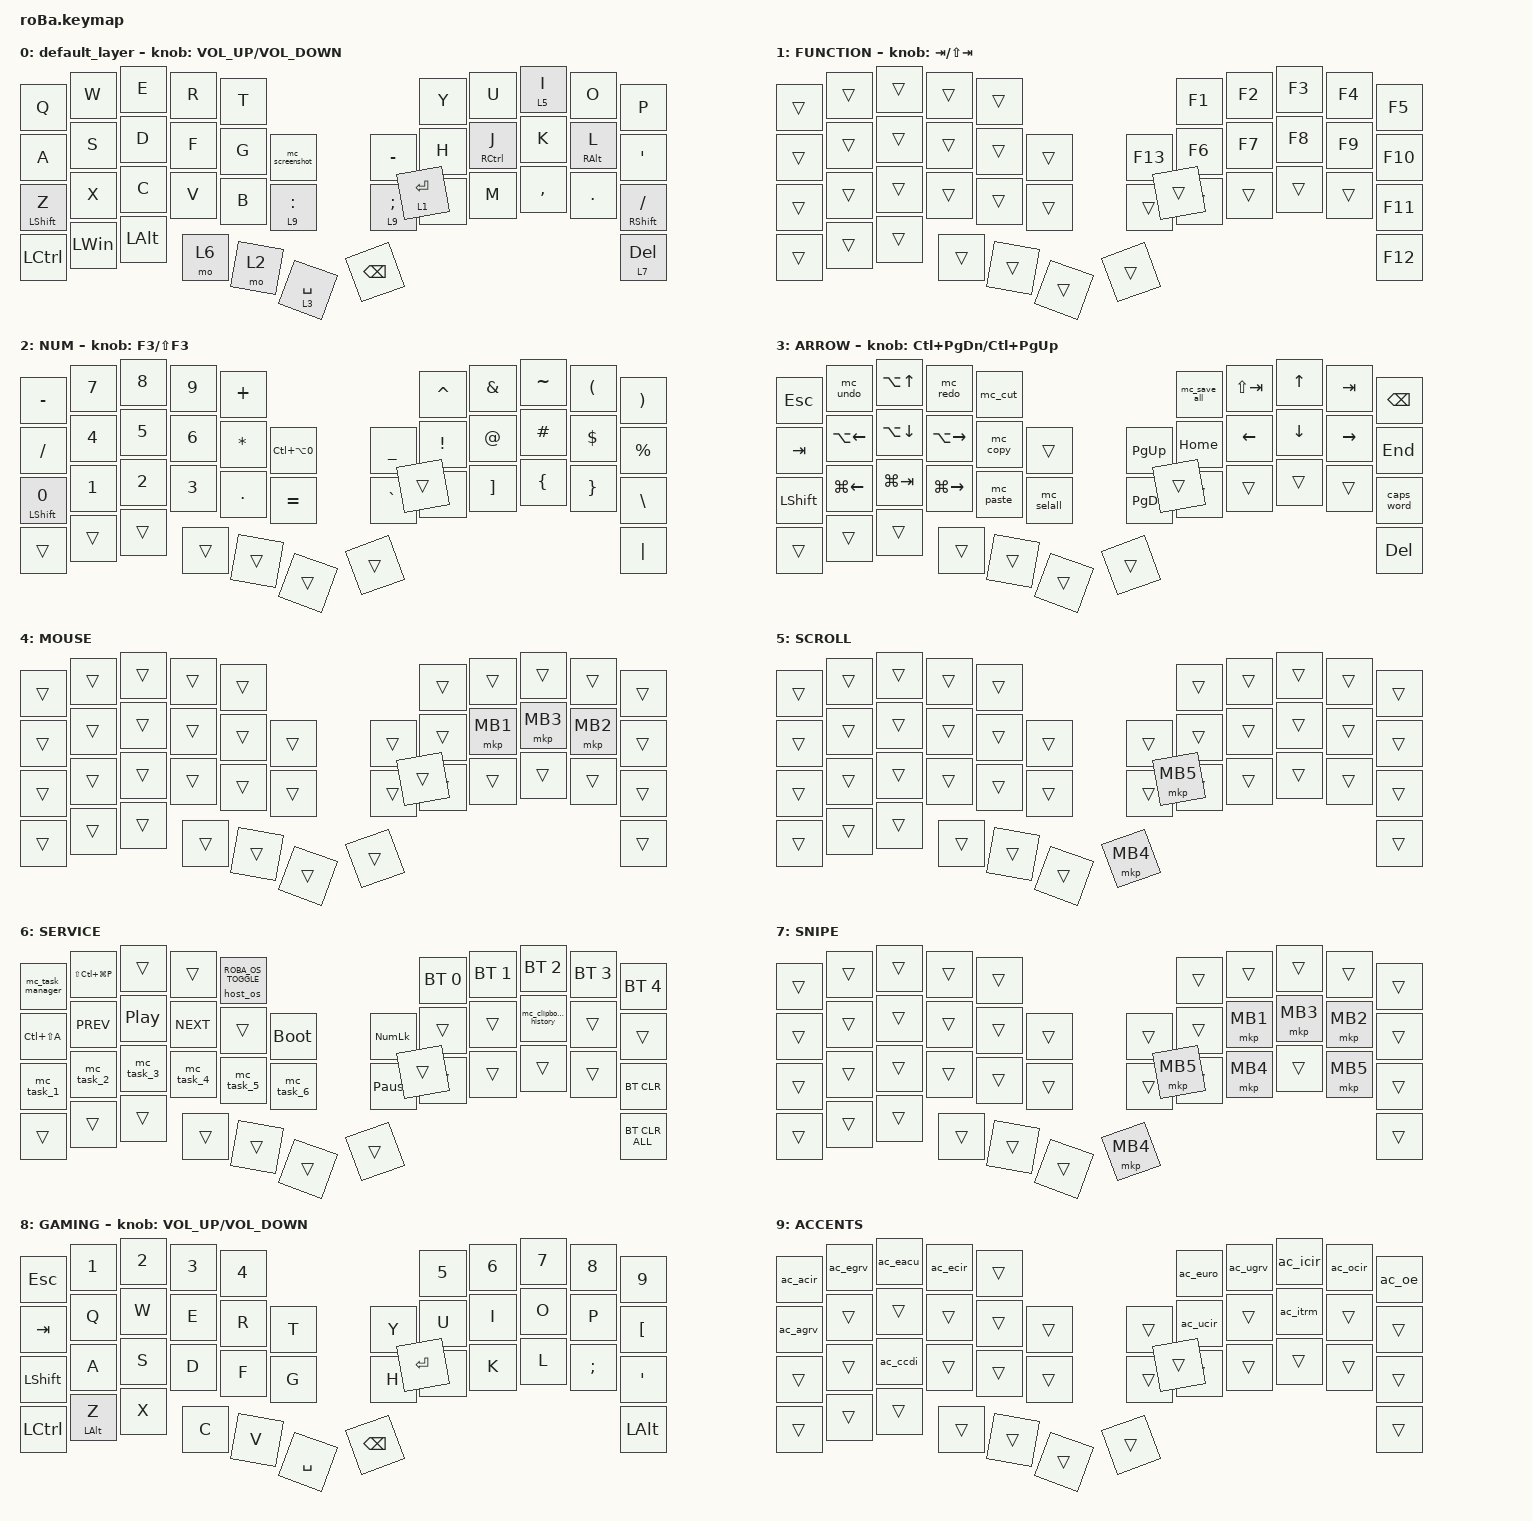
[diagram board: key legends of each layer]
#include <behaviors.dtsi>
#include <dt-bindings/zmk/bt.h>
#include <dt-bindings/zmk/keys.h>
#include <dt-bindings/zmk/modifiers.h>
#include <dt-bindings/zmk/pointing.h>

#include <dt-bindings/roba/host-os.h>

&mt {
    tapping-term-ms = <200>;
    flavor = "balanced";
    quick-tap-ms = <150>;
    require-prior-idle-ms = <150>;
};

&lt {
    flavor = "tap-preferred";
    tapping-term-ms = <200>;
    quick-tap-ms = <150>;
    require-prior-idle-ms = <100>;
};

&sl {
    release-after-ms = <2000>;
    quick-release;
};

&sk {
    release-after-ms = <2000>;
    quick-release;
};

&caps_word { continue-list = <UNDERSCORE MINUS BACKSPACE DELETE>; };

&trackball {
    automouse-layer = <4>;
    scroll-layers = <5>;

    // arrows {
    //     layers = <3>;
    //     bindings =
    //         <&kp RIGHT_ARROW>,
    //         <&kp LEFT_ARROW>,
    //         <&kp UP_ARROW>,
    //         <&kp DOWN_ARROW>;
    //     tick = <10>;
    //     wait-ms = <5>;
    //     tap-ms = <5>;
    // };
};

/ {
    combos {
        compatible = "zmk,combos";

        tab {
            timeout-ms = <40>;
            require-prior-idle-ms = <175>;
            bindings = <&kp TAB>;
            key-positions = <11 12>;
            layers = <0>;
        };

        shift_tab {
            timeout-ms = <40>;
            require-prior-idle-ms = <175>;
            bindings = <&kp LS(TAB)>;
            key-positions = <12 13>;
            layers = <0>;
        };

        double_quotation {
            timeout-ms = <40>;
            require-prior-idle-ms = <175>;
            bindings = <&kp DOUBLE_QUOTES>;
            key-positions = <20 21>;
        };

        // Layer-independent mouse clicks: work on every layer, even after the
        // AutoMouse layer expired (no movement needed). require-prior-idle-ms only
        // tracks keyboard key taps (never trackball movement or mkp clicks), so it
        // guards against fast jk/kl rolls during typing without delaying a click
        // after using the ball. Holding the chord keeps the button pressed
        // (click-hold / short drag).
        mb1 {
            timeout-ms = <40>;
            require-prior-idle-ms = <100>;
            bindings = <&mkp MB1>;
            key-positions = <18 19>;
        };

        mb2 {
            timeout-ms = <40>;
            require-prior-idle-ms = <100>;
            bindings = <&mkp MB2>;
            key-positions = <19 20>;
        };

        eq {
            timeout-ms = <40>;
            bindings = <&kp EQUAL>;
            key-positions = <24 25>;
            layers = <0 2>;
        };

        ctrl+alt+del {
            timeout-ms = <40>;
            require-prior-idle-ms = <175>;
            bindings = <&kp LC(LA(DELETE))>;
            key-positions = <34 42>;
        };

        Gaming {
            timeout-ms = <40>;
            require-prior-idle-ms = <175>;
            bindings = <&tog 8>;
            key-positions = <0 1 8 9>;
        };
    };

    macros {
        mc_clipboard_history: mc_clipboard_history {
            compatible = "zmk,behavior-macro";
            #binding-cells = <0>;
            bindings = <&kp LG(V)>;
            label = "Clipboard History";
        };

        mc_screenshot_linux: mc_screenshot_linux {
            compatible = "zmk,behavior-macro";
            #binding-cells = <0>;
            bindings = <&kp LG(LS(PRINTSCREEN))>;
            label = "Screenshot (Linux)";
        };

        mc_screenshot_windows: mc_screenshot_windows {
            compatible = "zmk,behavior-macro";
            #binding-cells = <0>;
            bindings = <&kp LG(LS(S))>;
            label = "Screenshot (Windows)";
        };

        to_layer_0: to_layer_0 {
            compatible = "zmk,behavior-macro-one-param";
            #binding-cells = <1>;
            bindings = <&to 0 &macro_param_1to1 &kp MACRO_PLACEHOLDER>;
            label = "TO_LAYER_0";
        };

        // Accent macros for both hosts; ac_* selectors choose at runtime.
        // Linux setup: see README.md. Shift selects explicit uppercase sequences.

        // à (Alt+0224)

        ac_agrv_l_linux: ac_agrv_l_linux {
            wait-ms = <5>;
            tap-ms = <5>;
            compatible = "zmk,behavior-macro";
            #binding-cells = <0>;
            bindings = <&macro_tap>, <&kp K_APPLICATION>,
                <&kp GRAVE>, <&kp A>;
            label = "à";
        };

        ac_agrv_l_windows: ac_agrv_l_windows {
            wait-ms = <5>;
            tap-ms = <5>;
            compatible = "zmk,behavior-macro";
            #binding-cells = <0>;
            bindings =
                <&macro_press>, <&kp LALT>,
                <&macro_tap>, <&kp KP_NUMBER_0>,
                <&macro_tap>, <&kp KP_NUMBER_2>,
                <&macro_tap>, <&kp KP_NUMBER_2>,
                <&macro_tap>, <&kp KP_NUMBER_4>,
                <&macro_release>, <&kp LALT>;
            label = "à";
        };

        // À (Alt+0192)

        ac_agrv_u_linux: ac_agrv_u_linux {
            wait-ms = <5>;
            tap-ms = <5>;
            compatible = "zmk,behavior-macro";
            #binding-cells = <0>;
            bindings = <&macro_tap>, <&kp K_APPLICATION>,
                <&kp GRAVE>, <&kp LS(A)>;
            label = "À";
        };

        ac_agrv_u_windows: ac_agrv_u_windows {
            wait-ms = <5>;
            tap-ms = <5>;
            compatible = "zmk,behavior-macro";
            #binding-cells = <0>;
            bindings =
                <&macro_press>, <&kp LALT>,
                <&macro_tap>, <&kp KP_NUMBER_0>,
                <&macro_tap>, <&kp KP_NUMBER_1>,
                <&macro_tap>, <&kp KP_NUMBER_9>,
                <&macro_tap>, <&kp KP_NUMBER_2>,
                <&macro_release>, <&kp LALT>;
            label = "À";
        };

        // è (Alt+0232)

        ac_egrv_l_linux: ac_egrv_l_linux {
            wait-ms = <5>;
            tap-ms = <5>;
            compatible = "zmk,behavior-macro";
            #binding-cells = <0>;
            bindings = <&macro_tap>, <&kp K_APPLICATION>,
                <&kp GRAVE>, <&kp E>;
            label = "è";
        };

        ac_egrv_l_windows: ac_egrv_l_windows {
            wait-ms = <5>;
            tap-ms = <5>;
            compatible = "zmk,behavior-macro";
            #binding-cells = <0>;
            bindings =
                <&macro_press>, <&kp LALT>,
                <&macro_tap>, <&kp KP_NUMBER_0>,
                <&macro_tap>, <&kp KP_NUMBER_2>,
                <&macro_tap>, <&kp KP_NUMBER_3>,
                <&macro_tap>, <&kp KP_NUMBER_2>,
                <&macro_release>, <&kp LALT>;
            label = "è";
        };

        // È (Alt+0200)

        ac_egrv_u_linux: ac_egrv_u_linux {
            wait-ms = <5>;
            tap-ms = <5>;
            compatible = "zmk,behavior-macro";
            #binding-cells = <0>;
            bindings = <&macro_tap>, <&kp K_APPLICATION>,
                <&kp GRAVE>, <&kp LS(E)>;
            label = "È";
        };

        ac_egrv_u_windows: ac_egrv_u_windows {
            wait-ms = <5>;
            tap-ms = <5>;
            compatible = "zmk,behavior-macro";
            #binding-cells = <0>;
            bindings =
                <&macro_press>, <&kp LALT>,
                <&macro_tap>, <&kp KP_NUMBER_0>,
                <&macro_tap>, <&kp KP_NUMBER_2>,
                <&macro_tap>, <&kp KP_NUMBER_0>,
                <&macro_tap>, <&kp KP_NUMBER_0>,
                <&macro_release>, <&kp LALT>;
            label = "È";
        };

        // é (Alt+0233)

        ac_eacu_l_linux: ac_eacu_l_linux {
            wait-ms = <5>;
            tap-ms = <5>;
            compatible = "zmk,behavior-macro";
            #binding-cells = <0>;
            bindings = <&macro_tap>, <&kp K_APPLICATION>,
                <&kp SQT>, <&kp E>;
            label = "é";
        };

        ac_eacu_l_windows: ac_eacu_l_windows {
            wait-ms = <5>;
            tap-ms = <5>;
            compatible = "zmk,behavior-macro";
            #binding-cells = <0>;
            bindings =
                <&macro_press>, <&kp LALT>,
                <&macro_tap>, <&kp KP_NUMBER_0>,
                <&macro_tap>, <&kp KP_NUMBER_2>,
                <&macro_tap>, <&kp KP_NUMBER_3>,
                <&macro_tap>, <&kp KP_NUMBER_3>,
                <&macro_release>, <&kp LALT>;
            label = "é";
        };

        // É (Alt+0201)

        ac_eacu_u_linux: ac_eacu_u_linux {
            wait-ms = <5>;
            tap-ms = <5>;
            compatible = "zmk,behavior-macro";
            #binding-cells = <0>;
            bindings = <&macro_tap>, <&kp K_APPLICATION>,
                <&kp SQT>, <&kp LS(E)>;
            label = "É";
        };

        ac_eacu_u_windows: ac_eacu_u_windows {
            wait-ms = <5>;
            tap-ms = <5>;
            compatible = "zmk,behavior-macro";
            #binding-cells = <0>;
            bindings =
                <&macro_press>, <&kp LALT>,
                <&macro_tap>, <&kp KP_NUMBER_0>,
                <&macro_tap>, <&kp KP_NUMBER_2>,
                <&macro_tap>, <&kp KP_NUMBER_0>,
                <&macro_tap>, <&kp KP_NUMBER_1>,
                <&macro_release>, <&kp LALT>;
            label = "É";
        };

        // ù (Alt+0249)

        ac_ugrv_l_linux: ac_ugrv_l_linux {
            wait-ms = <5>;
            tap-ms = <5>;
            compatible = "zmk,behavior-macro";
            #binding-cells = <0>;
            bindings = <&macro_tap>, <&kp K_APPLICATION>,
                <&kp GRAVE>, <&kp U>;
            label = "ù";
        };

        ac_ugrv_l_windows: ac_ugrv_l_windows {
            wait-ms = <5>;
            tap-ms = <5>;
            compatible = "zmk,behavior-macro";
            #binding-cells = <0>;
            bindings =
                <&macro_press>, <&kp LALT>,
                <&macro_tap>, <&kp KP_NUMBER_0>,
                <&macro_tap>, <&kp KP_NUMBER_2>,
                <&macro_tap>, <&kp KP_NUMBER_4>,
                <&macro_tap>, <&kp KP_NUMBER_9>,
                <&macro_release>, <&kp LALT>;
            label = "ù";
        };

        // Ù (Alt+0217)

        ac_ugrv_u_linux: ac_ugrv_u_linux {
            wait-ms = <5>;
            tap-ms = <5>;
            compatible = "zmk,behavior-macro";
            #binding-cells = <0>;
            bindings = <&macro_tap>, <&kp K_APPLICATION>,
                <&kp GRAVE>, <&kp LS(U)>;
            label = "Ù";
        };

        ac_ugrv_u_windows: ac_ugrv_u_windows {
            wait-ms = <5>;
            tap-ms = <5>;
            compatible = "zmk,behavior-macro";
            #binding-cells = <0>;
            bindings =
                <&macro_press>, <&kp LALT>,
                <&macro_tap>, <&kp KP_NUMBER_0>,
                <&macro_tap>, <&kp KP_NUMBER_2>,
                <&macro_tap>, <&kp KP_NUMBER_1>,
                <&macro_tap>, <&kp KP_NUMBER_7>,
                <&macro_release>, <&kp LALT>;
            label = "Ù";
        };

        // ô (Alt+0244)

        ac_ocir_l_linux: ac_ocir_l_linux {
            wait-ms = <5>;
            tap-ms = <5>;
            compatible = "zmk,behavior-macro";
            #binding-cells = <0>;
            bindings = <&macro_tap>, <&kp K_APPLICATION>,
                <&kp CARET>, <&kp O>;
            label = "ô";
        };

        ac_ocir_l_windows: ac_ocir_l_windows {
            wait-ms = <5>;
            tap-ms = <5>;
            compatible = "zmk,behavior-macro";
            #binding-cells = <0>;
            bindings =
                <&macro_press>, <&kp LALT>,
                <&macro_tap>, <&kp KP_NUMBER_0>,
                <&macro_tap>, <&kp KP_NUMBER_2>,
                <&macro_tap>, <&kp KP_NUMBER_4>,
                <&macro_tap>, <&kp KP_NUMBER_4>,
                <&macro_release>, <&kp LALT>;
            label = "ô";
        };

        // Ô (Alt+0212)

        ac_ocir_u_linux: ac_ocir_u_linux {
            wait-ms = <5>;
            tap-ms = <5>;
            compatible = "zmk,behavior-macro";
            #binding-cells = <0>;
            bindings = <&macro_tap>, <&kp K_APPLICATION>,
                <&kp CARET>, <&kp LS(O)>;
            label = "Ô";
        };

        ac_ocir_u_windows: ac_ocir_u_windows {
            wait-ms = <5>;
            tap-ms = <5>;
            compatible = "zmk,behavior-macro";
            #binding-cells = <0>;
            bindings =
                <&macro_press>, <&kp LALT>,
                <&macro_tap>, <&kp KP_NUMBER_0>,
                <&macro_tap>, <&kp KP_NUMBER_2>,
                <&macro_tap>, <&kp KP_NUMBER_1>,
                <&macro_tap>, <&kp KP_NUMBER_2>,
                <&macro_release>, <&kp LALT>;
            label = "Ô";
        };

        // ç (Alt+0231)

        ac_ccdi_l_linux: ac_ccdi_l_linux {
            wait-ms = <5>;
            tap-ms = <5>;
            compatible = "zmk,behavior-macro";
            #binding-cells = <0>;
            bindings = <&macro_tap>, <&kp K_APPLICATION>,
                <&kp COMMA>, <&kp C>;
            label = "ç";
        };

        ac_ccdi_l_windows: ac_ccdi_l_windows {
            wait-ms = <5>;
            tap-ms = <5>;
            compatible = "zmk,behavior-macro";
            #binding-cells = <0>;
            bindings =
                <&macro_press>, <&kp LALT>,
                <&macro_tap>, <&kp KP_NUMBER_0>,
                <&macro_tap>, <&kp KP_NUMBER_2>,
                <&macro_tap>, <&kp KP_NUMBER_3>,
                <&macro_tap>, <&kp KP_NUMBER_1>,
                <&macro_release>, <&kp LALT>;
            label = "ç";
        };

        // Ç (Alt+0199)

        ac_ccdi_u_linux: ac_ccdi_u_linux {
            wait-ms = <5>;
            tap-ms = <5>;
            compatible = "zmk,behavior-macro";
            #binding-cells = <0>;
            bindings = <&macro_tap>, <&kp K_APPLICATION>,
                <&kp COMMA>, <&kp LS(C)>;
            label = "Ç";
        };

        ac_ccdi_u_windows: ac_ccdi_u_windows {
            wait-ms = <5>;
            tap-ms = <5>;
            compatible = "zmk,behavior-macro";
            #binding-cells = <0>;
            bindings =
                <&macro_press>, <&kp LALT>,
                <&macro_tap>, <&kp KP_NUMBER_0>,
                <&macro_tap>, <&kp KP_NUMBER_1>,
                <&macro_tap>, <&kp KP_NUMBER_9>,
                <&macro_tap>, <&kp KP_NUMBER_9>,
                <&macro_release>, <&kp LALT>;
            label = "Ç";
        };

        // â (Alt+0226)

        ac_acir_l_linux: ac_acir_l_linux {
            wait-ms = <5>;
            tap-ms = <5>;
            compatible = "zmk,behavior-macro";
            #binding-cells = <0>;
            bindings = <&macro_tap>, <&kp K_APPLICATION>,
                <&kp CARET>, <&kp A>;
            label = "â";
        };

        ac_acir_l_windows: ac_acir_l_windows {
            wait-ms = <5>;
            tap-ms = <5>;
            compatible = "zmk,behavior-macro";
            #binding-cells = <0>;
            bindings =
                <&macro_press>, <&kp LALT>,
                <&macro_tap>, <&kp KP_NUMBER_0>,
                <&macro_tap>, <&kp KP_NUMBER_2>,
                <&macro_tap>, <&kp KP_NUMBER_2>,
                <&macro_tap>, <&kp KP_NUMBER_6>,
                <&macro_release>, <&kp LALT>;
            label = "â";
        };

        // Â (Alt+0194)

        ac_acir_u_linux: ac_acir_u_linux {
            wait-ms = <5>;
            tap-ms = <5>;
            compatible = "zmk,behavior-macro";
            #binding-cells = <0>;
            bindings = <&macro_tap>, <&kp K_APPLICATION>,
                <&kp CARET>, <&kp LS(A)>;
            label = "Â";
        };

        ac_acir_u_windows: ac_acir_u_windows {
            wait-ms = <5>;
            tap-ms = <5>;
            compatible = "zmk,behavior-macro";
            #binding-cells = <0>;
            bindings =
                <&macro_press>, <&kp LALT>,
                <&macro_tap>, <&kp KP_NUMBER_0>,
                <&macro_tap>, <&kp KP_NUMBER_1>,
                <&macro_tap>, <&kp KP_NUMBER_9>,
                <&macro_tap>, <&kp KP_NUMBER_4>,
                <&macro_release>, <&kp LALT>;
            label = "Â";
        };

        // ê (Alt+0234)

        ac_ecir_l_linux: ac_ecir_l_linux {
            wait-ms = <5>;
            tap-ms = <5>;
            compatible = "zmk,behavior-macro";
            #binding-cells = <0>;
            bindings = <&macro_tap>, <&kp K_APPLICATION>,
                <&kp CARET>, <&kp E>;
            label = "ê";
        };

        ac_ecir_l_windows: ac_ecir_l_windows {
            wait-ms = <5>;
            tap-ms = <5>;
            compatible = "zmk,behavior-macro";
            #binding-cells = <0>;
            bindings =
                <&macro_press>, <&kp LALT>,
                <&macro_tap>, <&kp KP_NUMBER_0>,
                <&macro_tap>, <&kp KP_NUMBER_2>,
                <&macro_tap>, <&kp KP_NUMBER_3>,
                <&macro_tap>, <&kp KP_NUMBER_4>,
                <&macro_release>, <&kp LALT>;
            label = "ê";
        };

        // Ê (Alt+0202)

        ac_ecir_u_linux: ac_ecir_u_linux {
            wait-ms = <5>;
            tap-ms = <5>;
            compatible = "zmk,behavior-macro";
            #binding-cells = <0>;
            bindings = <&macro_tap>, <&kp K_APPLICATION>,
                <&kp CARET>, <&kp LS(E)>;
            label = "Ê";
        };

        ac_ecir_u_windows: ac_ecir_u_windows {
            wait-ms = <5>;
            tap-ms = <5>;
            compatible = "zmk,behavior-macro";
            #binding-cells = <0>;
            bindings =
                <&macro_press>, <&kp LALT>,
                <&macro_tap>, <&kp KP_NUMBER_0>,
                <&macro_tap>, <&kp KP_NUMBER_2>,
                <&macro_tap>, <&kp KP_NUMBER_0>,
                <&macro_tap>, <&kp KP_NUMBER_2>,
                <&macro_release>, <&kp LALT>;
            label = "Ê";
        };

        // î (Alt+0238)

        ac_icir_l_linux: ac_icir_l_linux {
            wait-ms = <5>;
            tap-ms = <5>;
            compatible = "zmk,behavior-macro";
            #binding-cells = <0>;
            bindings = <&macro_tap>, <&kp K_APPLICATION>,
                <&kp CARET>, <&kp I>;
            label = "î";
        };

        ac_icir_l_windows: ac_icir_l_windows {
            wait-ms = <5>;
            tap-ms = <5>;
            compatible = "zmk,behavior-macro";
            #binding-cells = <0>;
            bindings =
                <&macro_press>, <&kp LALT>,
                <&macro_tap>, <&kp KP_NUMBER_0>,
                <&macro_tap>, <&kp KP_NUMBER_2>,
                <&macro_tap>, <&kp KP_NUMBER_3>,
                <&macro_tap>, <&kp KP_NUMBER_8>,
                <&macro_release>, <&kp LALT>;
            label = "î";
        };

        // Î (Alt+0206)

        ac_icir_u_linux: ac_icir_u_linux {
            wait-ms = <5>;
            tap-ms = <5>;
            compatible = "zmk,behavior-macro";
            #binding-cells = <0>;
            bindings = <&macro_tap>, <&kp K_APPLICATION>,
                <&kp CARET>, <&kp LS(I)>;
            label = "Î";
        };

        ac_icir_u_windows: ac_icir_u_windows {
            wait-ms = <5>;
            tap-ms = <5>;
            compatible = "zmk,behavior-macro";
            #binding-cells = <0>;
            bindings =
                <&macro_press>, <&kp LALT>,
                <&macro_tap>, <&kp KP_NUMBER_0>,
                <&macro_tap>, <&kp KP_NUMBER_2>,
                <&macro_tap>, <&kp KP_NUMBER_0>,
                <&macro_tap>, <&kp KP_NUMBER_6>,
                <&macro_release>, <&kp LALT>;
            label = "Î";
        };

        // û (Alt+0251)

        ac_ucir_l_linux: ac_ucir_l_linux {
            wait-ms = <5>;
            tap-ms = <5>;
            compatible = "zmk,behavior-macro";
            #binding-cells = <0>;
            bindings = <&macro_tap>, <&kp K_APPLICATION>,
                <&kp CARET>, <&kp U>;
            label = "û";
        };

        ac_ucir_l_windows: ac_ucir_l_windows {
            wait-ms = <5>;
            tap-ms = <5>;
            compatible = "zmk,behavior-macro";
            #binding-cells = <0>;
            bindings =
                <&macro_press>, <&kp LALT>,
                <&macro_tap>, <&kp KP_NUMBER_0>,
                <&macro_tap>, <&kp KP_NUMBER_2>,
                <&macro_tap>, <&kp KP_NUMBER_5>,
                <&macro_tap>, <&kp KP_NUMBER_1>,
                <&macro_release>, <&kp LALT>;
            label = "û";
        };

        // Û (Alt+0219)

        ac_ucir_u_linux: ac_ucir_u_linux {
            wait-ms = <5>;
            tap-ms = <5>;
            compatible = "zmk,behavior-macro";
            #binding-cells = <0>;
            bindings = <&macro_tap>, <&kp K_APPLICATION>,
                <&kp CARET>, <&kp LS(U)>;
            label = "Û";
        };

        ac_ucir_u_windows: ac_ucir_u_windows {
            wait-ms = <5>;
            tap-ms = <5>;
            compatible = "zmk,behavior-macro";
            #binding-cells = <0>;
            bindings =
                <&macro_press>, <&kp LALT>,
                <&macro_tap>, <&kp KP_NUMBER_0>,
                <&macro_tap>, <&kp KP_NUMBER_2>,
                <&macro_tap>, <&kp KP_NUMBER_1>,
                <&macro_tap>, <&kp KP_NUMBER_9>,
                <&macro_release>, <&kp LALT>;
            label = "Û";
        };

        // ë (Alt+0235)

        ac_etrm_l_linux: ac_etrm_l_linux {
            wait-ms = <5>;
            tap-ms = <5>;
            compatible = "zmk,behavior-macro";
            #binding-cells = <0>;
            bindings = <&macro_tap>, <&kp K_APPLICATION>,
                <&kp DOUBLE_QUOTES>, <&kp E>;
            label = "ë";
        };

        ac_etrm_l_windows: ac_etrm_l_windows {
            wait-ms = <5>;
            tap-ms = <5>;
            compatible = "zmk,behavior-macro";
            #binding-cells = <0>;
            bindings =
                <&macro_press>, <&kp LALT>,
                <&macro_tap>, <&kp KP_NUMBER_0>,
                <&macro_tap>, <&kp KP_NUMBER_2>,
                <&macro_tap>, <&kp KP_NUMBER_3>,
                <&macro_tap>, <&kp KP_NUMBER_5>,
                <&macro_release>, <&kp LALT>;
            label = "ë";
        };

        // Ë (Alt+0203)

        ac_etrm_u_linux: ac_etrm_u_linux {
            wait-ms = <5>;
            tap-ms = <5>;
            compatible = "zmk,behavior-macro";
            #binding-cells = <0>;
            bindings = <&macro_tap>, <&kp K_APPLICATION>,
                <&kp DOUBLE_QUOTES>, <&kp LS(E)>;
            label = "Ë";
        };

        ac_etrm_u_windows: ac_etrm_u_windows {
            wait-ms = <5>;
            tap-ms = <5>;
            compatible = "zmk,behavior-macro";
            #binding-cells = <0>;
            bindings =
                <&macro_press>, <&kp LALT>,
                <&macro_tap>, <&kp KP_NUMBER_0>,
                <&macro_tap>, <&kp KP_NUMBER_2>,
                <&macro_tap>, <&kp KP_NUMBER_0>,
                <&macro_tap>, <&kp KP_NUMBER_3>,
                <&macro_release>, <&kp LALT>;
            label = "Ë";
        };

        // ï (Alt+0239)

        ac_itrm_l_linux: ac_itrm_l_linux {
            wait-ms = <5>;
            tap-ms = <5>;
            compatible = "zmk,behavior-macro";
            #binding-cells = <0>;
            bindings = <&macro_tap>, <&kp K_APPLICATION>,
                <&kp DOUBLE_QUOTES>, <&kp I>;
            label = "ï";
        };

        ac_itrm_l_windows: ac_itrm_l_windows {
            wait-ms = <5>;
            tap-ms = <5>;
            compatible = "zmk,behavior-macro";
            #binding-cells = <0>;
            bindings =
                <&macro_press>, <&kp LALT>,
                <&macro_tap>, <&kp KP_NUMBER_0>,
                <&macro_tap>, <&kp KP_NUMBER_2>,
                <&macro_tap>, <&kp KP_NUMBER_3>,
                <&macro_tap>, <&kp KP_NUMBER_9>,
                <&macro_release>, <&kp LALT>;
            label = "ï";
        };

        // Ï (Alt+0207)

        ac_itrm_u_linux: ac_itrm_u_linux {
            wait-ms = <5>;
            tap-ms = <5>;
            compatible = "zmk,behavior-macro";
            #binding-cells = <0>;
            bindings = <&macro_tap>, <&kp K_APPLICATION>,
                <&kp DOUBLE_QUOTES>, <&kp LS(I)>;
            label = "Ï";
        };

        ac_itrm_u_windows: ac_itrm_u_windows {
            wait-ms = <5>;
            tap-ms = <5>;
            compatible = "zmk,behavior-macro";
            #binding-cells = <0>;
            bindings =
                <&macro_press>, <&kp LALT>,
                <&macro_tap>, <&kp KP_NUMBER_0>,
                <&macro_tap>, <&kp KP_NUMBER_2>,
                <&macro_tap>, <&kp KP_NUMBER_0>,
                <&macro_tap>, <&kp KP_NUMBER_7>,
                <&macro_release>, <&kp LALT>;
            label = "Ï";
        };

        // ü (Alt+0252)

        ac_utrm_l_linux: ac_utrm_l_linux {
            wait-ms = <5>;
            tap-ms = <5>;
            compatible = "zmk,behavior-macro";
            #binding-cells = <0>;
            bindings = <&macro_tap>, <&kp K_APPLICATION>,
                <&kp DOUBLE_QUOTES>, <&kp U>;
            label = "ü";
        };

        ac_utrm_l_windows: ac_utrm_l_windows {
            wait-ms = <5>;
            tap-ms = <5>;
            compatible = "zmk,behavior-macro";
            #binding-cells = <0>;
            bindings =
                <&macro_press>, <&kp LALT>,
                <&macro_tap>, <&kp KP_NUMBER_0>,
                <&macro_tap>, <&kp KP_NUMBER_2>,
                <&macro_tap>, <&kp KP_NUMBER_5>,
                <&macro_tap>, <&kp KP_NUMBER_2>,
                <&macro_release>, <&kp LALT>;
            label = "ü";
        };

        // Ü (Alt+0220)

        ac_utrm_u_linux: ac_utrm_u_linux {
            wait-ms = <5>;
            tap-ms = <5>;
            compatible = "zmk,behavior-macro";
            #binding-cells = <0>;
            bindings = <&macro_tap>, <&kp K_APPLICATION>,
                <&kp DOUBLE_QUOTES>, <&kp LS(U)>;
            label = "Ü";
        };

        ac_utrm_u_windows: ac_utrm_u_windows {
            wait-ms = <5>;
            tap-ms = <5>;
            compatible = "zmk,behavior-macro";
            #binding-cells = <0>;
            bindings =
                <&macro_press>, <&kp LALT>,
                <&macro_tap>, <&kp KP_NUMBER_0>,
                <&macro_tap>, <&kp KP_NUMBER_2>,
                <&macro_tap>, <&kp KP_NUMBER_2>,
                <&macro_tap>, <&kp KP_NUMBER_0>,
                <&macro_release>, <&kp LALT>;
            label = "Ü";
        };

        // œ (Alt+0156)

        ac_oe_l_linux: ac_oe_l_linux {
            wait-ms = <5>;
            tap-ms = <5>;
            compatible = "zmk,behavior-macro";
            #binding-cells = <0>;
            bindings = <&macro_tap>, <&kp K_APPLICATION>,
                <&kp O>, <&kp E>;
            label = "œ";
        };

        ac_oe_l_windows: ac_oe_l_windows {
            wait-ms = <5>;
            tap-ms = <5>;
            compatible = "zmk,behavior-macro";
            #binding-cells = <0>;
            bindings =
                <&macro_press>, <&kp LALT>,
                <&macro_tap>, <&kp KP_NUMBER_0>,
                <&macro_tap>, <&kp KP_NUMBER_1>,
                <&macro_tap>, <&kp KP_NUMBER_5>,
                <&macro_tap>, <&kp KP_NUMBER_6>,
                <&macro_release>, <&kp LALT>;
            label = "œ";
        };

        // Œ (Alt+0140)

        ac_oe_u_linux: ac_oe_u_linux {
            wait-ms = <5>;
            tap-ms = <5>;
            compatible = "zmk,behavior-macro";
            #binding-cells = <0>;
            bindings = <&macro_tap>, <&kp K_APPLICATION>,
                <&kp LS(O)>, <&kp LS(E)>;
            label = "Œ";
        };

        ac_oe_u_windows: ac_oe_u_windows {
            wait-ms = <5>;
            tap-ms = <5>;
            compatible = "zmk,behavior-macro";
            #binding-cells = <0>;
            bindings =
                <&macro_press>, <&kp LALT>,
                <&macro_tap>, <&kp KP_NUMBER_0>,
                <&macro_tap>, <&kp KP_NUMBER_1>,
                <&macro_tap>, <&kp KP_NUMBER_4>,
                <&macro_tap>, <&kp KP_NUMBER_0>,
                <&macro_release>, <&kp LALT>;
            label = "Œ";
        };

        // € (Alt+0128, single macro, no upper — bind directly, no morph)

        ac_euro_linux: ac_euro_linux {
            wait-ms = <5>;
            tap-ms = <5>;
            compatible = "zmk,behavior-macro";
            #binding-cells = <0>;
            bindings = <&macro_tap>, <&kp K_APPLICATION>,
                <&kp E>, <&kp EQUAL>;
            label = "€";
        };

        ac_euro_windows: ac_euro_windows {
            wait-ms = <5>;
            tap-ms = <5>;
            compatible = "zmk,behavior-macro";
            #binding-cells = <0>;
            bindings =
                <&macro_press>, <&kp LALT>,
                <&macro_tap>, <&kp KP_NUMBER_0>,
                <&macro_tap>, <&kp KP_NUMBER_1>,
                <&macro_tap>, <&kp KP_NUMBER_2>,
                <&macro_tap>, <&kp KP_NUMBER_8>,
                <&macro_release>, <&kp LALT>;
            label = "€";
        };

        mc_find: mc_find {
            label = "Find";
            compatible = "zmk,behavior-macro";
            #binding-cells = <0>;
            bindings =
                <&macro_press>,
                <&kp LCTRL>,
                <&macro_tap>,
                <&kp F>,
                <&macro_release>,
                <&kp LCTRL>;
        };

        mc_selall: mc_selall {
            label = "Select All";
            compatible = "zmk,behavior-macro";
            #binding-cells = <0>;
            bindings =
                <&macro_press>,
                <&kp LCTRL>,
                <&macro_tap>,
                <&kp A>,
                <&macro_release>,
                <&kp LCTRL>;
        };

        mc_undo: mc_undo {
            label = "Undo";
            compatible = "zmk,behavior-macro";
            #binding-cells = <0>;
            bindings =
                <&macro_press>,
                <&kp LCTRL>,
                <&macro_tap>,
                <&kp Z>,
                <&macro_release>,
                <&kp LCTRL>;
        };

        mc_copy: mc_copy {
            label = "Copy";
            compatible = "zmk,behavior-macro";
            #binding-cells = <0>;
            bindings =
                <&macro_press>,
                <&kp LCTRL>,
                <&macro_tap>,
                <&kp C>,
                <&macro_release>,
                <&kp LCTRL>;
        };

        mc_cut: mc_cut {
            label = "Cut";
            compatible = "zmk,behavior-macro";
            #binding-cells = <0>;
            bindings =
                <&macro_press>,
                <&kp LCTRL>,
                <&macro_tap>,
                <&kp X>,
                <&macro_release>,
                <&kp LCTRL>;
        };

        mc_paste: mc_paste {
            label = "Paste";
            compatible = "zmk,behavior-macro";
            #binding-cells = <0>;
            bindings =
                <&macro_press>,
                <&kp LCTRL>,
                <&macro_tap>,
                <&kp V>,
                <&macro_release>,
                <&kp LCTRL>;
        };

        mc_save: mc_save {
            label = "Save";
            compatible = "zmk,behavior-macro";
            #binding-cells = <0>;
            bindings =
                <&macro_press>,
                <&kp LCTRL>,
                <&macro_tap>,
                <&kp S>,
                <&macro_release>,
                <&kp LCTRL>;
        };

        mc_save_esc: mc_save_esc {
            label = "Save + Esc";
            compatible = "zmk,behavior-macro";
            #binding-cells = <0>;
            bindings =
                <&macro_press>,
                <&kp LCTRL>,
                <&macro_tap>,
                <&kp S>,
                <&macro_release>,
                <&kp LCTRL>,
                <&macro_tap>,
                <&kp ESC>;
        };

        mc_save_all: mc_save_all {
            label = "Save All";
            compatible = "zmk,behavior-macro";
            #binding-cells = <0>;
            bindings =
                <&macro_press>,
                <&kp LCTRL &kp LSHFT>,
                <&macro_tap>,
                <&kp S>,
                <&macro_release>,
                <&kp LSHFT &kp LCTRL>;
        };

        mc_seln: mc_seln {
            label = "Select Line";
            compatible = "zmk,behavior-macro";
            #binding-cells = <0>;
            bindings =
                <&macro_tap>,
                <&kp HOME>,
                <&macro_press>,
                <&kp LSHFT>,
                <&macro_tap>,
                <&kp END>,
                <&macro_release>,
                <&kp LSHFT>;
        };

        mc_redo_linux: mc_redo_linux {
            compatible = "zmk,behavior-macro";
            #binding-cells = <0>;
            bindings = <&kp LC(LS(Z))>;
            label = "Redo (linux)";
        };

        mc_redo_windows: mc_redo_windows {
            compatible = "zmk,behavior-macro";
            #binding-cells = <0>;
            bindings = <&kp LC(Y)>;
            label = "Redo (windows)";
        };

        mc_task_manager_linux: mc_task_manager_linux {
            compatible = "zmk,behavior-macro";
            #binding-cells = <0>;
            bindings = <&kp LG(ESC)>;
            label = "System Monitor / Task Manager (linux)";
        };

        mc_task_manager_windows: mc_task_manager_windows {
            compatible = "zmk,behavior-macro";
            #binding-cells = <0>;
            bindings = <&kp LC(LS(ESC))>;
            label = "System Monitor / Task Manager (windows)";
        };

        mc_task_1_linux: mc_task_1_linux {
            compatible = "zmk,behavior-macro";
            #binding-cells = <0>;
            bindings = <&kp LG(NUMBER_1)>;
            label = "Task 1 (linux)";
        };

        mc_task_1_windows: mc_task_1_windows {
            compatible = "zmk,behavior-macro";
            #binding-cells = <0>;
            bindings = <&kp LS(LG(NUMBER_1))>;
            label = "Task 1 (windows)";
        };

        mc_task_2_linux: mc_task_2_linux {
            compatible = "zmk,behavior-macro";
            #binding-cells = <0>;
            bindings = <&kp LG(NUMBER_2)>;
            label = "Task 2 (linux)";
        };

        mc_task_2_windows: mc_task_2_windows {
            compatible = "zmk,behavior-macro";
            #binding-cells = <0>;
            bindings = <&kp LS(LG(NUMBER_2))>;
            label = "Task 2 (windows)";
        };

        mc_task_3_linux: mc_task_3_linux {
            compatible = "zmk,behavior-macro";
            #binding-cells = <0>;
            bindings = <&kp LG(NUMBER_3)>;
            label = "Task 3 (linux)";
        };

        mc_task_3_windows: mc_task_3_windows {
            compatible = "zmk,behavior-macro";
            #binding-cells = <0>;
            bindings = <&kp LS(LG(NUMBER_3))>;
            label = "Task 3 (windows)";
        };

        mc_task_4_linux: mc_task_4_linux {
            compatible = "zmk,behavior-macro";
            #binding-cells = <0>;
            bindings = <&kp LG(NUMBER_4)>;
            label = "Task 4 (linux)";
        };

        mc_task_4_windows: mc_task_4_windows {
            compatible = "zmk,behavior-macro";
            #binding-cells = <0>;
            bindings = <&kp LS(LG(NUMBER_4))>;
            label = "Task 4 (windows)";
        };

        mc_task_5_linux: mc_task_5_linux {
            compatible = "zmk,behavior-macro";
            #binding-cells = <0>;
            bindings = <&kp LG(NUMBER_5)>;
            label = "Task 5 (linux)";
        };

        mc_task_5_windows: mc_task_5_windows {
            compatible = "zmk,behavior-macro";
            #binding-cells = <0>;
            bindings = <&kp LS(LG(NUMBER_5))>;
            label = "Task 5 (windows)";
        };

        mc_task_6_linux: mc_task_6_linux {
            compatible = "zmk,behavior-macro";
            #binding-cells = <0>;
            bindings = <&kp LG(NUMBER_6)>;
            label = "Task 6 (linux)";
        };

        mc_task_6_windows: mc_task_6_windows {
            compatible = "zmk,behavior-macro";
            #binding-cells = <0>;
            bindings = <&kp LS(LG(NUMBER_6))>;
            label = "Task 6 (windows)";
        };
    };

    behaviors {
        mc_screenshot: mc_screenshot {
            compatible = "roba,behavior-os-select";
            #binding-cells = <0>;
            bindings = <&mc_screenshot_linux>, <&mc_screenshot_windows>;
            label = "Screenshot";
        };

        // SERVICE+T selects Linux or Windows for these shortcuts and accents.
        mc_redo: mc_redo {
            compatible = "roba,behavior-os-select";
            #binding-cells = <0>;
            bindings = <&mc_redo_linux>, <&mc_redo_windows>;
            label = "Redo";
        };

        mc_task_manager: mc_task_manager {
            compatible = "roba,behavior-os-select";
            #binding-cells = <0>;
            bindings = <&mc_task_manager_linux>, <&mc_task_manager_windows>;
            label = "System Monitor / Task Manager";
        };

        mc_task_1: mc_task_1 {
            compatible = "roba,behavior-os-select";
            #binding-cells = <0>;
            bindings = <&mc_task_1_linux>, <&mc_task_1_windows>;
            label = "Task 1";
        };

        mc_task_2: mc_task_2 {
            compatible = "roba,behavior-os-select";
            #binding-cells = <0>;
            bindings = <&mc_task_2_linux>, <&mc_task_2_windows>;
            label = "Task 2";
        };

        mc_task_3: mc_task_3 {
            compatible = "roba,behavior-os-select";
            #binding-cells = <0>;
            bindings = <&mc_task_3_linux>, <&mc_task_3_windows>;
            label = "Task 3";
        };

        mc_task_4: mc_task_4 {
            compatible = "roba,behavior-os-select";
            #binding-cells = <0>;
            bindings = <&mc_task_4_linux>, <&mc_task_4_windows>;
            label = "Task 4";
        };

        mc_task_5: mc_task_5 {
            compatible = "roba,behavior-os-select";
            #binding-cells = <0>;
            bindings = <&mc_task_5_linux>, <&mc_task_5_windows>;
            label = "Task 5";
        };

        mc_task_6: mc_task_6 {
            compatible = "roba,behavior-os-select";
            #binding-cells = <0>;
            bindings = <&mc_task_6_linux>, <&mc_task_6_windows>;
            label = "Task 6";
        };

        host_os: host_os {
            compatible = "roba,behavior-host-os";
            #binding-cells = <1>;
            label = "Host OS";
        };

        ac_agrv_l: ac_agrv_l {
            compatible = "roba,behavior-os-select";
            #binding-cells = <0>;
            bindings = <&ac_agrv_l_linux>, <&ac_agrv_l_windows>;
            label = "à";
        };

        ac_agrv_u: ac_agrv_u {
            compatible = "roba,behavior-os-select";
            #binding-cells = <0>;
            bindings = <&ac_agrv_u_linux>, <&ac_agrv_u_windows>;
            label = "À";
        };

        ac_egrv_l: ac_egrv_l {
            compatible = "roba,behavior-os-select";
            #binding-cells = <0>;
            bindings = <&ac_egrv_l_linux>, <&ac_egrv_l_windows>;
            label = "è";
        };

        ac_egrv_u: ac_egrv_u {
            compatible = "roba,behavior-os-select";
            #binding-cells = <0>;
            bindings = <&ac_egrv_u_linux>, <&ac_egrv_u_windows>;
            label = "È";
        };

        ac_eacu_l: ac_eacu_l {
            compatible = "roba,behavior-os-select";
            #binding-cells = <0>;
            bindings = <&ac_eacu_l_linux>, <&ac_eacu_l_windows>;
            label = "é";
        };

        ac_eacu_u: ac_eacu_u {
            compatible = "roba,behavior-os-select";
            #binding-cells = <0>;
            bindings = <&ac_eacu_u_linux>, <&ac_eacu_u_windows>;
            label = "É";
        };

        ac_ugrv_l: ac_ugrv_l {
            compatible = "roba,behavior-os-select";
            #binding-cells = <0>;
            bindings = <&ac_ugrv_l_linux>, <&ac_ugrv_l_windows>;
            label = "ù";
        };

        ac_ugrv_u: ac_ugrv_u {
            compatible = "roba,behavior-os-select";
            #binding-cells = <0>;
            bindings = <&ac_ugrv_u_linux>, <&ac_ugrv_u_windows>;
            label = "Ù";
        };

        ac_ocir_l: ac_ocir_l {
            compatible = "roba,behavior-os-select";
            #binding-cells = <0>;
            bindings = <&ac_ocir_l_linux>, <&ac_ocir_l_windows>;
            label = "ô";
        };

        ac_ocir_u: ac_ocir_u {
            compatible = "roba,behavior-os-select";
            #binding-cells = <0>;
            bindings = <&ac_ocir_u_linux>, <&ac_ocir_u_windows>;
            label = "Ô";
        };

        ac_ccdi_l: ac_ccdi_l {
            compatible = "roba,behavior-os-select";
            #binding-cells = <0>;
            bindings = <&ac_ccdi_l_linux>, <&ac_ccdi_l_windows>;
            label = "ç";
        };

        ac_ccdi_u: ac_ccdi_u {
            compatible = "roba,behavior-os-select";
            #binding-cells = <0>;
            bindings = <&ac_ccdi_u_linux>, <&ac_ccdi_u_windows>;
            label = "Ç";
        };

        ac_acir_l: ac_acir_l {
            compatible = "roba,behavior-os-select";
            #binding-cells = <0>;
            bindings = <&ac_acir_l_linux>, <&ac_acir_l_windows>;
            label = "â";
        };

        ac_acir_u: ac_acir_u {
            compatible = "roba,behavior-os-select";
            #binding-cells = <0>;
            bindings = <&ac_acir_u_linux>, <&ac_acir_u_windows>;
            label = "Â";
        };

        ac_ecir_l: ac_ecir_l {
            compatible = "roba,behavior-os-select";
            #binding-cells = <0>;
            bindings = <&ac_ecir_l_linux>, <&ac_ecir_l_windows>;
            label = "ê";
        };

        ac_ecir_u: ac_ecir_u {
            compatible = "roba,behavior-os-select";
            #binding-cells = <0>;
            bindings = <&ac_ecir_u_linux>, <&ac_ecir_u_windows>;
            label = "Ê";
        };

        ac_icir_l: ac_icir_l {
            compatible = "roba,behavior-os-select";
            #binding-cells = <0>;
            bindings = <&ac_icir_l_linux>, <&ac_icir_l_windows>;
            label = "î";
        };

        ac_icir_u: ac_icir_u {
            compatible = "roba,behavior-os-select";
            #binding-cells = <0>;
            bindings = <&ac_icir_u_linux>, <&ac_icir_u_windows>;
            label = "Î";
        };

        ac_ucir_l: ac_ucir_l {
            compatible = "roba,behavior-os-select";
            #binding-cells = <0>;
            bindings = <&ac_ucir_l_linux>, <&ac_ucir_l_windows>;
            label = "û";
        };

        ac_ucir_u: ac_ucir_u {
            compatible = "roba,behavior-os-select";
            #binding-cells = <0>;
            bindings = <&ac_ucir_u_linux>, <&ac_ucir_u_windows>;
            label = "Û";
        };

        ac_etrm_l: ac_etrm_l {
            compatible = "roba,behavior-os-select";
            #binding-cells = <0>;
            bindings = <&ac_etrm_l_linux>, <&ac_etrm_l_windows>;
            label = "ë";
        };

        ac_etrm_u: ac_etrm_u {
            compatible = "roba,behavior-os-select";
            #binding-cells = <0>;
            bindings = <&ac_etrm_u_linux>, <&ac_etrm_u_windows>;
            label = "Ë";
        };

        ac_itrm_l: ac_itrm_l {
            compatible = "roba,behavior-os-select";
            #binding-cells = <0>;
            bindings = <&ac_itrm_l_linux>, <&ac_itrm_l_windows>;
            label = "ï";
        };

        ac_itrm_u: ac_itrm_u {
            compatible = "roba,behavior-os-select";
            #binding-cells = <0>;
            bindings = <&ac_itrm_u_linux>, <&ac_itrm_u_windows>;
            label = "Ï";
        };

        ac_utrm_l: ac_utrm_l {
            compatible = "roba,behavior-os-select";
            #binding-cells = <0>;
            bindings = <&ac_utrm_l_linux>, <&ac_utrm_l_windows>;
            label = "ü";
        };

        ac_utrm_u: ac_utrm_u {
            compatible = "roba,behavior-os-select";
            #binding-cells = <0>;
            bindings = <&ac_utrm_u_linux>, <&ac_utrm_u_windows>;
            label = "Ü";
        };

        ac_oe_l: ac_oe_l {
            compatible = "roba,behavior-os-select";
            #binding-cells = <0>;
            bindings = <&ac_oe_l_linux>, <&ac_oe_l_windows>;
            label = "œ";
        };

        ac_oe_u: ac_oe_u {
            compatible = "roba,behavior-os-select";
            #binding-cells = <0>;
            bindings = <&ac_oe_u_linux>, <&ac_oe_u_windows>;
            label = "Œ";
        };

        ac_euro: ac_euro {
            compatible = "roba,behavior-os-select";
            #binding-cells = <0>;
            bindings = <&ac_euro_linux>, <&ac_euro_windows>;
            label = "€";
        };

        hm_l: homerow-mods-left {
            compatible = "zmk,behavior-hold-tap";
            #binding-cells = <2>;
            tapping-term-ms = <280>;
            flavor = "balanced";
            quick-tap-ms = <175>;
            require-prior-idle-ms = <175>;
            hold-trigger-key-positions = <5 6 7 8 9 16 17 18 19 20 21 28 29 30 31 32 33 40 41 42>;
            hold-trigger-on-release;
            bindings = <&kp>, <&kp>;
        };

        hm_r: homerow-mods-right {
            compatible = "zmk,behavior-hold-tap";
            #binding-cells = <2>;
            tapping-term-ms = <280>;
            flavor = "balanced";
            quick-tap-ms = <175>;
            require-prior-idle-ms = <175>;
            hold-trigger-key-positions = <0 1 2 3 4 10 11 12 13 14 15 22 23 24 25 26 27 34 35 36 37 38 39>;
            hold-trigger-on-release;
            bindings = <&kp>, <&kp>;
        };

        hm_shift_l: homerow-mods-shift-left {
            compatible = "zmk,behavior-hold-tap";
            #binding-cells = <2>;
            tapping-term-ms = <175>;
            flavor = "balanced";
            quick-tap-ms = <175>;
            hold-trigger-key-positions = <5 6 7 8 9 16 17 18 19 20 21 28 29 30 31 32 33 40 41 42>;
            hold-trigger-on-release;
            bindings = <&kp>, <&kp>;
        };

        hm_shift_r: homerow-mods-shift-right {
            compatible = "zmk,behavior-hold-tap";
            #binding-cells = <2>;
            tapping-term-ms = <175>;
            flavor = "balanced";
            quick-tap-ms = <175>;
            hold-trigger-key-positions = <0 1 2 3 4 10 11 12 13 14 15 22 23 24 25 26 27 34 35 36 37 38 39>;
            hold-trigger-on-release;
            bindings = <&kp>, <&kp>;
        };

        msl: layer-tap-with-stick-layer {
            compatible = "zmk,behavior-hold-tap";
            #binding-cells = <2>;
            tapping-term-ms = <200>;
            flavor = "tap-preferred";
            quick-tap-ms = <150>;
            require-prior-idle-ms = <100>;
            bindings = <&mo>, <&sl>;
        };

        msk: layer-tap-with-stick-key {
            compatible = "zmk,behavior-hold-tap";
            #binding-cells = <2>;
            tapping-term-ms = <200>;
            flavor = "tap-preferred";
            quick-tap-ms = <150>;
            require-prior-idle-ms = <100>;
            bindings = <&mo>, <&sk>;
        };

        lt_to_layer_0: lt_to_layer_0 {
            compatible = "zmk,behavior-hold-tap";
            #binding-cells = <2>;
            tapping-term-ms = <200>;
            flavor = "tap-preferred";
            quick-tap-ms = <150>;
            require-prior-idle-ms = <100>;
            bindings = <&mo>, <&to_layer_0>;
        };

        lt_scroll: layer-tap-scroll {
            compatible = "zmk,behavior-hold-tap";
            #binding-cells = <2>;
            tapping-term-ms = <175>;
            flavor = "balanced";
            bindings = <&mo>, <&kp>;
        };

        lt_to_layer_0_space: lt_to_layer_0_space {
            compatible = "zmk,behavior-hold-tap";
            #binding-cells = <2>;
            tapping-term-ms = <200>;
            flavor = "tap-preferred";
            quick-tap-ms = <150>;
            require-prior-idle-ms = <100>;
            bindings = <&mo>, <&to_layer_0>;
        };

        ac_agrv: ac_agrv {
            compatible = "zmk,behavior-mod-morph";
            #binding-cells = <0>;
            bindings = <&ac_agrv_l>, <&ac_agrv_u>;
            mods = <(MOD_LSFT|MOD_RSFT)>;
        };

        ac_egrv: ac_egrv {
            compatible = "zmk,behavior-mod-morph";
            #binding-cells = <0>;
            bindings = <&ac_egrv_l>, <&ac_egrv_u>;
            mods = <(MOD_LSFT|MOD_RSFT)>;
        };

        ac_eacu: ac_eacu {
            compatible = "zmk,behavior-mod-morph";
            #binding-cells = <0>;
            bindings = <&ac_eacu_l>, <&ac_eacu_u>;
            mods = <(MOD_LSFT|MOD_RSFT)>;
        };

        ac_ugrv: ac_ugrv {
            compatible = "zmk,behavior-mod-morph";
            #binding-cells = <0>;
            bindings = <&ac_ugrv_l>, <&ac_ugrv_u>;
            mods = <(MOD_LSFT|MOD_RSFT)>;
        };

        ac_ocir: ac_ocir {
            compatible = "zmk,behavior-mod-morph";
            #binding-cells = <0>;
            bindings = <&ac_ocir_l>, <&ac_ocir_u>;
            mods = <(MOD_LSFT|MOD_RSFT)>;
        };

        ac_ccdi: ac_ccdi {
            compatible = "zmk,behavior-mod-morph";
            #binding-cells = <0>;
            bindings = <&ac_ccdi_l>, <&ac_ccdi_u>;
            mods = <(MOD_LSFT|MOD_RSFT)>;
        };

        // Mod-morph consumes outer Shift and selects the _u variant,
        // which sends its own uppercase Compose sequence or Windows Alt-code.
        // Do NOT set keep-mods.

        ac_acir: ac_acir {
            compatible = "zmk,behavior-mod-morph";
            #binding-cells = <0>;
            bindings = <&ac_acir_l>, <&ac_acir_u>;
            mods = <(MOD_LSFT|MOD_RSFT)>;
        };

        ac_ecir: ac_ecir {
            compatible = "zmk,behavior-mod-morph";
            #binding-cells = <0>;
            bindings = <&ac_ecir_l>, <&ac_ecir_u>;
            mods = <(MOD_LSFT|MOD_RSFT)>;
        };

        ac_icir: ac_icir {
            compatible = "zmk,behavior-mod-morph";
            #binding-cells = <0>;
            bindings = <&ac_icir_l>, <&ac_icir_u>;
            mods = <(MOD_LSFT|MOD_RSFT)>;
        };

        ac_ucir: ac_ucir {
            compatible = "zmk,behavior-mod-morph";
            #binding-cells = <0>;
            bindings = <&ac_ucir_l>, <&ac_ucir_u>;
            mods = <(MOD_LSFT|MOD_RSFT)>;
        };

        ac_etrm: ac_etrm {
            compatible = "zmk,behavior-mod-morph";
            #binding-cells = <0>;
            bindings = <&ac_etrm_l>, <&ac_etrm_u>;
            mods = <(MOD_LSFT|MOD_RSFT)>;
        };

        ac_itrm: ac_itrm {
            compatible = "zmk,behavior-mod-morph";
            #binding-cells = <0>;
            bindings = <&ac_itrm_l>, <&ac_itrm_u>;
            mods = <(MOD_LSFT|MOD_RSFT)>;
        };

        ac_utrm: ac_utrm {
            compatible = "zmk,behavior-mod-morph";
            #binding-cells = <0>;
            bindings = <&ac_utrm_l>, <&ac_utrm_u>;
            mods = <(MOD_LSFT|MOD_RSFT)>;
        };

        ac_oe: ac_oe {
            compatible = "zmk,behavior-mod-morph";
            #binding-cells = <0>;
            bindings = <&ac_oe_l>, <&ac_oe_u>;
            mods = <(MOD_LSFT|MOD_RSFT)>;
        };
    };

    keymap {
        compatible = "zmk,keymap";

        default_layer {
            bindings = <
&kp Q                     &kp W         &kp E         &kp R  &kp T                                                                &kp Y        &kp U          &lt_scroll 5 I  &kp O         &kp P
&kp A                     &kp S         &kp D         &kp F  &kp G  &mc_screenshot                     &kp MINUS                   &kp H        &hm_r RCTRL J  &kp K           &hm_r RALT L  &kp SQT
&hm_shift_l LEFT_SHIFT Z  &kp X         &kp C         &kp V  &kp B  &lt_to_layer_0 9 COLON            &lt_to_layer_0 9 SEMICOLON  &kp N        &kp M          &kp COMMA       &kp DOT       &hm_shift_r RIGHT_SHIFT SLASH
&kp LCTRL                 &kp LEFT_WIN  &kp LEFT_ALT  &mo 6  &mo 2  &lt_to_layer_0_space 3 SPACE      &kp BACKSPACE               &lt 1 ENTER                                               &lt_to_layer_0 7 DEL
            >;

            sensor-bindings = <&inc_dec_kp C_VOLUME_UP C_VOLUME_DOWN>;
        };

        FUNCTION {
            bindings = <
&trans  &trans  &trans  &trans  &trans                       &kp F1  &kp F2  &kp F3  &kp F4  &kp F5
&trans  &trans  &trans  &trans  &trans  &trans      &kp F13  &kp F6  &kp F7  &kp F8  &kp F9  &kp F10
&trans  &trans  &trans  &trans  &trans  &trans      &trans   &trans  &trans  &trans  &trans  &kp F11
&trans  &trans  &trans  &trans  &trans  &trans      &trans   &trans                          &kp F12
            >;

            sensor-bindings = <&inc_dec_kp TAB LS(TAB)>;
        };

        NUM {
            bindings = <
&kp MINUS          &kp N7  &kp N8  &kp N9  &kp PLUS                                          &kp CARET         &kp AMPERSAND      &kp TILDE       &kp LEFT_PARENTHESIS  &kp RIGHT_PARENTHESIS
&kp SLASH          &kp N4  &kp N5  &kp N6  &kp ASTERISK  &kp LC(LA(N0))      &kp UNDERSCORE  &kp EXCLAMATION   &kp AT_SIGN        &kp HASH        &kp DOLLAR            &kp PERCENT
&mt LEFT_SHIFT N0  &kp N1  &kp N2  &kp N3  &kp PERIOD    &kp EQUAL           &kp GRAVE       &kp LEFT_BRACKET  &kp RIGHT_BRACKET  &kp LEFT_BRACE  &kp RIGHT_BRACE       &kp BACKSLASH
&trans             &trans  &trans  &trans  &trans        &trans              &trans          &trans                                                                     &kp PIPE
            >;

            sensor-bindings = <&inc_dec_kp F3 LS(F3)>;
        };

        ARROW {
            bindings = <
&kp ESCAPE      &mc_undo            &kp LA(UP_ARROW)    &mc_redo             &mc_cut                                   &mc_save_all  &kp LS(TAB)  &kp UP    &kp TAB    &kp BACKSPACE
&kp TAB         &kp LA(LEFT_ARROW)  &kp LA(DOWN_ARROW)  &kp LA(RIGHT_ARROW)  &mc_copy   &trans          &kp PAGE_UP    &kp HOME      &kp LEFT     &kp DOWN  &kp RIGHT  &kp END
&kp LEFT_SHIFT  &kp LG(LEFT_ARROW)  &kp LG(TAB)         &kp LG(RIGHT_ARROW)  &mc_paste  &mc_selall      &kp PAGE_DOWN  &trans        &trans       &trans    &trans     &caps_word
&trans          &trans              &trans              &trans               &trans     &trans          &trans         &trans                                          &kp DELETE
            >;

            sensor-bindings = <&inc_dec_kp LC(PAGE_DOWN) LC(PAGE_UP)>;
        };

        MOUSE {
            bindings = <
&trans  &trans  &trans  &trans  &trans                      &trans  &trans    &trans    &trans    &trans
&trans  &trans  &trans  &trans  &trans  &trans      &trans  &trans  &mkp MB1  &mkp MB3  &mkp MB2  &trans
&trans  &trans  &trans  &trans  &trans  &trans      &trans  &trans  &trans    &trans    &trans    &trans
&trans  &trans  &trans  &trans  &trans  &trans      &trans  &trans                                &trans
            >;
        };

        SCROLL {
            bindings = <
&trans  &trans  &trans  &trans  &trans                        &trans    &trans  &trans  &trans  &trans
&trans  &trans  &trans  &trans  &trans  &trans      &trans    &trans    &trans  &trans  &trans  &trans
&trans  &trans  &trans  &trans  &trans  &trans      &trans    &trans    &trans  &trans  &trans  &trans
&trans  &trans  &trans  &trans  &trans  &trans      &mkp MB4  &mkp MB5                          &trans
            >;
        };

        SERVICE {
            bindings = <
&mc_task_manager       &kp LS(LC(LG(P)))     &trans                &trans                &host_os ROBA_OS_TOGGLE                                                           &bt BT_SEL 0  &bt BT_SEL 1  &bt BT_SEL 2  &bt BT_SEL 3  &bt BT_SEL 4
&kp LC(LS(A))         &kp C_PREV            &kp C_PLAY_PAUSE      &kp C_NEXT            &trans                &bootloader               &kp KP_NUMLOCK   &trans        &trans        &mc_clipboard_history        &trans        &trans
&mc_task_1  &mc_task_2  &mc_task_3  &mc_task_4  &mc_task_5  &mc_task_6      &kp PAUSE_BREAK  &trans        &trans        &trans        &trans        &bt BT_CLR
&trans                &trans                &trans                &trans                &trans                &trans                    &trans           &trans                                                  &bt BT_CLR_ALL
            >;
        };

        SNIPE {
            bindings = <
&trans  &trans  &trans  &trans  &trans                        &trans    &trans    &trans    &trans    &trans
&trans  &trans  &trans  &trans  &trans  &trans      &trans    &trans    &mkp MB1  &mkp MB3  &mkp MB2  &trans
&trans  &trans  &trans  &trans  &trans  &trans      &trans    &trans    &mkp MB4  &trans    &mkp MB5  &trans
&trans  &trans  &trans  &trans  &trans  &trans      &mkp MB4  &mkp MB5                                &trans
            >;
        };

        GAMING {
            bindings = <
&kp ESCAPE  &kp N1          &kp N2  &kp N3  &kp N4                           &kp N5     &kp N6  &kp N7  &kp N8    &kp N9
&kp TAB     &kp Q           &kp W   &kp E   &kp R   &kp T          &kp Y     &kp U      &kp I   &kp O   &kp P     &kp LBKT
&kp LSHFT   &kp A           &kp S   &kp D   &kp F   &kp G          &kp H     &kp J      &kp K   &kp L   &kp SEMI  &kp APOS
&kp LCTRL   &mt LEFT_ALT Z  &kp X   &kp C   &kp V   &kp SPACE      &kp BSPC  &kp ENTER                            &kp LALT
            >;

            sensor-bindings = <&inc_dec_kp C_VOLUME_UP C_VOLUME_DOWN>;
        };

        // ACCENTS: SERVICE+T toggles Linux / Windows; Linux is selected at boot.
        // Linux Compose needs compose:menu; Windows needs NumLock ON.
        ACCENTS {
            bindings = <
&ac_acir  &ac_egrv  &ac_eacu  &ac_ecir  &trans                        &ac_euro  &ac_ugrv  &ac_icir  &ac_ocir  &ac_oe
&ac_agrv  &trans    &trans    &trans    &trans    &trans      &trans    &ac_ucir  &trans    &ac_itrm  &trans    &trans
&trans    &trans    &ac_ccdi  &trans    &trans    &trans      &trans    &trans    &trans    &trans    &trans    &trans
&trans    &trans    &trans    &trans    &trans    &trans      &trans    &trans                                          &trans
            >;
        };
    };
};
